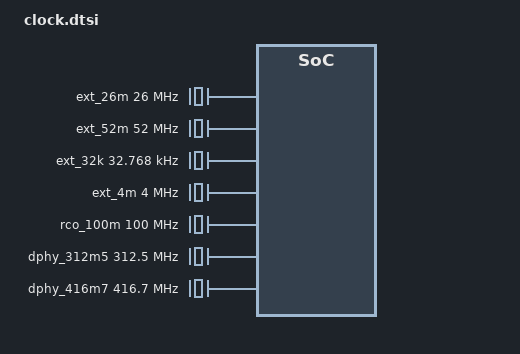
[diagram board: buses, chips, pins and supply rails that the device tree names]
// SPDX-License-Identifier: GPL-2.0-only
/*
 * Unisoc nt36672e Truly LCD config DTS file
 *
 * Copyright (C) 2021, Unisoc Inc.
 */
&soc {
	ap_clk: clock-controller@20010000 {
		compatible = "sprd,ums9621-ap-clk";
		reg = <0 0x20010000 0 0x3000>;
		clocks = <&ext_26m>;
		clock-names = "ext-26m";
		#clock-cells = <1>;
	};

	gpu_clk: clock-controller@23010000 {
		compatible = "sprd,ums9621-gpu-clk";
		reg = <0 0x23010000 0 0x3000>;
		clocks = <&ext_26m>;
		clock-names = "ext-26m";
		#clock-cells = <1>;
	};

	mm_clk: clock-controller@30010000 {
		compatible = "sprd,ums9621-mm-clk";
		reg = <0 0x30010000 0 0x3000>;
		clocks = <&ext_26m>;
		clock-names = "ext-26m";
		#clock-cells = <1>;
	};

	dpu_vsp_clk: clock-controller@30110000 {
		compatible = "sprd,ums9621-dpu-vsp-clk";
		reg = <0 0x30110000 0 0x3000>;
		clocks = <&ext_26m>, <&dphy_312m5>, <&dphy_416m7>;
		clock-names = "ext-26m", "dphy-312m5", "dphy-416m7";
		#clock-cells = <1>;
	};

	aonapb_clk: clock-controller@64920000 {
		compatible = "sprd,ums9621-aonapb-clk";
		reg = <0 0x64920000 0 0x3000>;
		clocks = <&ext_26m>, <&ext_32k>, <&ext_4m>,
			<&rco_100m>, <&ext_52m>;
		clock-names = "ext-26m", "ext-32k", "ext-4m",
			 "rco-100m", "ext-52m";
		#clock-cells = <1>;
	};

	topdvfs_clk: clock-controller@64940000 {
		compatible = "sprd,ums9621-topdvfs-clk";
		reg = <0 0x64940000 0 0x3000>;
		clocks = <&ext_26m>;
		clock-names = "ext-26m";
		#clock-cells = <1>;
	};
};

/ {
	ext_26m: ext-26m {
		compatible = "fixed-clock";
		#clock-cells = <0>;
		clock-frequency = <26000000>;
		clock-output-names = "ext-26m";
	};

	ext_52m: ext-52m {
		compatible = "fixed-clock";
		#clock-cells = <0>;
		clock-frequency = <52000000>;
		clock-output-names = "ext-52m";
	};

	ext_32k: ext-32k {
		compatible = "fixed-clock";
		#clock-cells = <0>;
		clock-frequency = <32768>;
		clock-output-names = "ext-32k";
	};

	ext_4m: ext-4m {
		compatible = "fixed-clock";
		#clock-cells = <0>;
		clock-frequency = <4000000>;
		clock-output-names = "ext-4m";
	};

	rco_100m: rco-100m {
		compatible = "fixed-clock";
		#clock-cells = <0>;
		clock-frequency = <100000000>;
		clock-output-names = "rco-100m";
	};

	dphy_312m5: dphy-312m5 {
		compatible = "fixed-clock";
		#clock-cells = <0>;
		clock-frequency = <312500000>;
		clock-output-names = "dphy-312m5";
	};

	dphy_416m7: dphy-416m7 {
		compatible = "fixed-clock";
		#clock-cells = <0>;
		clock-frequency = <416700000>;
		clock-output-names = "dphy-416m7";
	};
};
